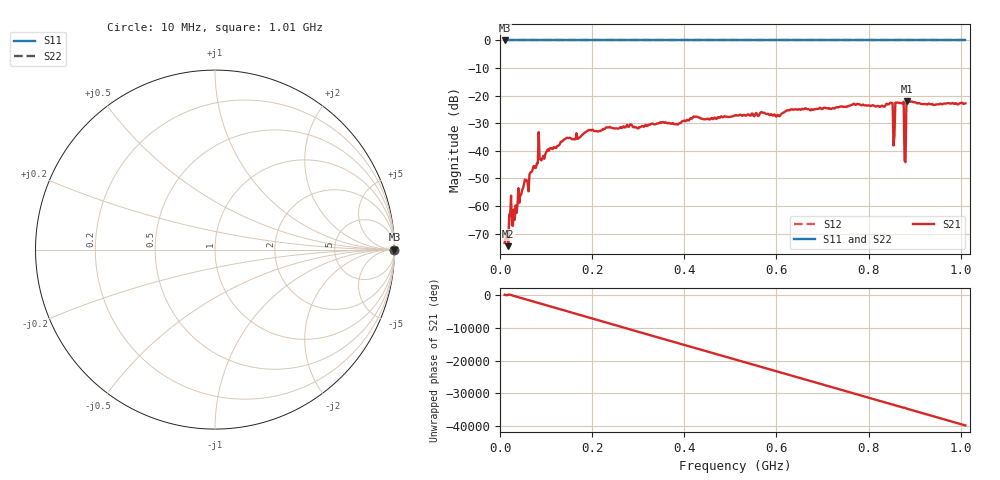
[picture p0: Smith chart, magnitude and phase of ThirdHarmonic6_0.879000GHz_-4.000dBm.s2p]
! 8/16/2025 4:57:28 AM
! C:\ANRITSUVNA\TEMP\TEMP.S2P
! CHANNEL.1
! TR.MEASUREMENT
! RAW.DATA
! RF.CORRECTION.OFF
! AVERAGING.OFF
! IF.BANDWIDTH: 5KHZ
! SWEEPTYPE:  FREQ.SWEEP(Linear)
! Reference Plane Port Info
! PORT:  PORT1  PORT2
! DISTANCE:  0  m  0  m
! TIME:  0  s  0  s
! PHASE.OFFSET:  0  deg.  0  deg.
! LOSS:  0  dB  0  dB
! REF.LOSS:  0  dB  0  dB
! REF.FREQ:  0  Hz  0  Hz
! Power Info
! POWER:  -20  dBm  -20  dBm
! EFF.POWER:  -20  dBm  -20  dBm
! SOURCE.ATTEN:  0  dB  0  dB
! TEST.ATTEN:  0  dB  0  dB
# GHZ S RI R 50.0
! FREQ.GHZ  S11RE  S11IM  S21RE  S21IM  S12RE  S12IM  S22RE  S22IM
!; PortSelection: Port_12
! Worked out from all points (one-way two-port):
!   501 points, 10 MHz to 1.01 GHz, reference 50 ohm
!   highest |S21| = -22.10 dB at 884 MHz (marker M1); lowest = -74.5 dB at 18 MHz (marker M2)
!   lowest |S11| = 0.0 dB at 10 MHz (marker M3)
!   |S11| at or under -10 dB: nowhere
!   |S22| runs from 0.0 to 0.0 dB; largest |S21 - S12| = 1.1
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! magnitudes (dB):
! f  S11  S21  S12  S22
! 10 MHz  0.0  -73.4  0.0  0.0
! 18 MHz  0.0  -74.5  0.0  0.0
! 24 MHz  0.0  -56.2  0.0  0.0
! 30 MHz  0.0  -61.2  0.0  0.0
! 52 MHz  0.0  -52.1  0.0  0.0
! 84 MHz  0.0  -33.2  0.0  0.0
! 178 MHz  0.0  -34.3  0.0  0.0
! 344 MHz  0.0  -30.1  0.0  0.0
! 510 MHz  0.0  -27.2  0.0  0.0
! 678 MHz  0.0  -25.1  0.0  0.0
! 844 MHz  0.0  -23.1  0.0  0.0
! 848 MHz  0.0  -22.5  0.0  0.0
! 854 MHz  0.0  -38.1  0.0  0.0
! 858 MHz  0.0  -22.5  0.0  0.0
! 862 MHz  0.0  -22.5  0.0  0.0
! 872 MHz  0.0  -22.8  0.0  0.0
! 876 MHz  0.0  -22.2  0.0  0.0
! 882 MHz  0.0  -22.8  0.0  0.0
! 884 MHz  0.0  -22.1  0.0  0.0
! 886 MHz  0.0  -22.1  0.0  0.0
! 888 MHz  0.0  -22.2  0.0  0.0
! 1.01 GHz  0.0  -22.8  0.0  0.0
